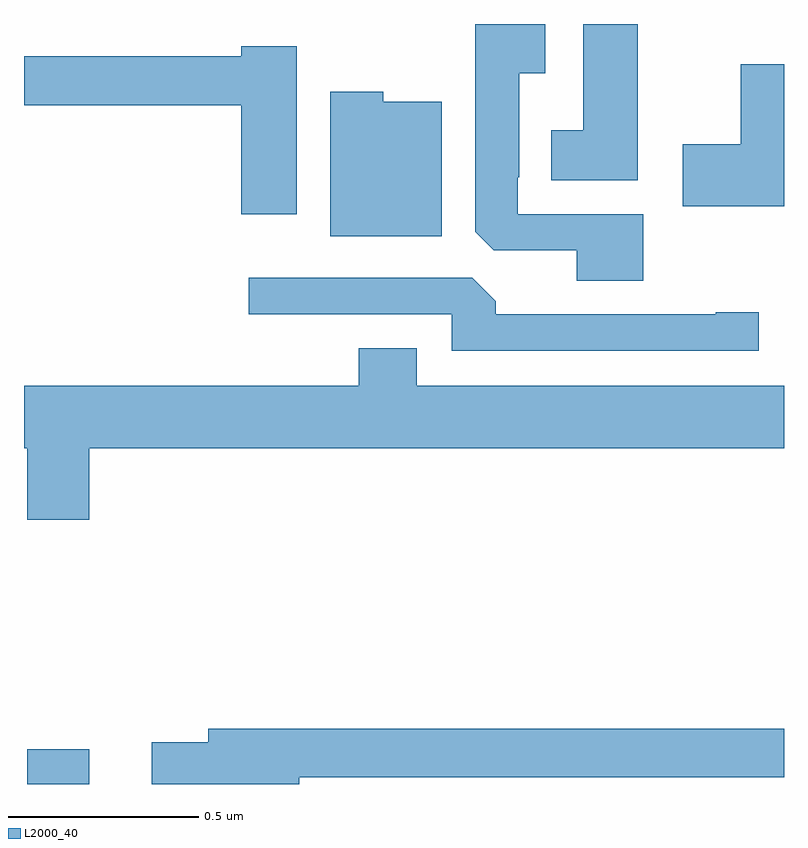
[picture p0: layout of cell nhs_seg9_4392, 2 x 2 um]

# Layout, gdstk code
import gdstk
lib = gdstk.Library(unit=1e-6, precision=1e-09)
def R(c, l, rs):  # rectangles x0, y0, x1, y1
    for r in rs: c.add(gdstk.rectangle(r[:2], r[2:], *l))
def P(c, l, *ps):  # polygons
    for p in ps: c.add(gdstk.Polygon(p, *l))
L2000_40 = (2000, 40)

nhs_seg9_4392 = lib.new_cell('nhs_seg9_4392')
R(nhs_seg9_4392, L2000_40, [(165.008,1231.5,165.172,1231.591)])
P(nhs_seg9_4392, L2000_40, [(166.615,1233.5),(166.472,1233.5),(166.472,1233.22),(166.388,1233.22),(166.388,1233.089),(166.615,1233.089)],
  [(166.63,1233),(166.299,1233),(166.299,1233.097),(166.303,1233.097),(166.303,1233.371),(166.372,1233.371),(166.372,1233.5),(166.187,1233.5),(166.187,1232.953),(166.236,1232.904),(166.454,1232.904),(166.454,1232.825),(166.63,1232.825)],
  [(165.718,1233.442),(165.572,1233.442),(165.572,1233.415),(165,1233.415),(165,1233.286),(165.572,1233.286),(165.572,1233),(165.718,1233)],
  [(167,1233.394),(166.886,1233.394),(166.886,1233.183),(166.734,1233.183),(166.734,1233.02),(167,1233.02)],
  [(166.099,1233.295),(165.945,1233.295),(165.945,1233.322),(165.806,1233.322),(165.806,1232.942),(166.099,1232.942)],
  [(166.933,1232.741),(166.82,1232.741),(166.82,1232.736),(166.241,1232.736),(166.241,1232.77),(166.179,1232.832),(165.591,1232.832),(165.591,1232.736),(166.125,1232.736),(166.125,1232.64),(166.933,1232.64)],
  [(165.172,1232.384),(167,1232.384),(167,1232.548),(166.033,1232.548),(166.033,1232.647),(165.881,1232.647),(165.881,1232.548),(165,1232.548),(165,1232.384),(165.008,1232.384),(165.008,1232.196),(165.172,1232.196)],
  [(165.724,1231.518),(167,1231.518),(167,1231.646),(165.485,1231.646),(165.485,1231.61),(165.336,1231.61),(165.336,1231.5),(165.724,1231.5)])

lib.write_gds('nhs_seg9_4392.gds')
